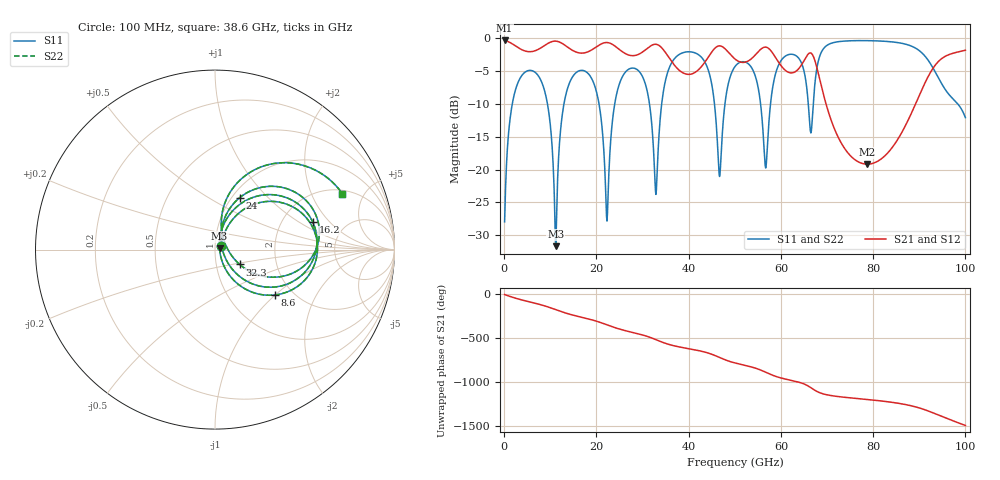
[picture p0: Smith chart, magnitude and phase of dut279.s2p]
! Touchstone file exported from HFSS 2026.1.0
!  File:  C:/ffzhzh/LocalFiles/Ansys_Project_Files/temp_train_TSV_RDL_279_1783677909_26216.aedt
!  Generated:  06:40:01 PM Jul 10, 2026
!  Design:  TSV_RDL
!  Project:  temp_train_TSV_RDL_279_1783677909_26216
! Variables:
!  h_bsmrdl = 2.91um
!  h_ox = 20um
!  h_rdl = 5um
!  h_sub = 92.72um
!  h_tmrdl = 2.04um
!  h_tsv = 92.72um
!  h_via = 3um
!  l_bsmrdl = 612.32um
!  l_sub = 4969.57um
!  l_tmrdl = 652.2um
!  m_sub = 200um
!  pitch = 56.39um
!  r_tsv = 13.09um
!  s_tmrdl = 10um
!  w_bsmrdl = 22.51um
!  w_sub = 500um
!  w_tmrdl = 18.76um
!  x_tsv_center1 = 661.58um
!  x_tsv_center2 = 1296.41um
!  x_tsv_center3 = 1967.37um
!  x_tsv_center4 = 2602.2um
!  x_tsv_center5 = 3273.16um
!  x_tsv_center6 = 3907.99um
# GHz S MA R 50.000000
! Terminal data exported
! Port[1] = TM_RDL1_1_T1
! Port[2] = TM_RDL5_1_T1
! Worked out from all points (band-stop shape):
!   1000 points, 100 MHz to 100 GHz, reference 50 ohm
!   highest |S21| = -0.30 dB at 100 MHz (marker M1); lowest = -19.2 dB at 78.7 GHz (marker M2)
!   |S21| within 3 dB of the highest: start of sweep to 36.1 GHz; 43.82 GHz to 50.37 GHz (6.547 GHz wide, 13.9 % of centre) (the widest 2 of 5)
!   lowest |S11| = -31.7 dB at 11.2 GHz (marker M3), VSWR 1.05, Z = 52.6 + j0.749 ohm
!   |S11| at or under -10 dB: 9.396 GHz to 12.96 GHz (3.564 GHz wide, 31.9 % of centre); 20.57 GHz to 23.97 GHz (3.392 GHz wide, 15.2 % of centre); 31.51 GHz to 34.15 GHz (2.638 GHz wide, 8.03 % of centre) (the widest 3 of 8)
!   |S22| runs from -31.7 to -0.3 dB; largest |S21 - S12| = 5.5e-12
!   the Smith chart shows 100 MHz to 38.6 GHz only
!   S11 on the Smith chart (normalised r, x): 100 MHz: 1.07, +0.04; 8.6 GHz: 1.62, -1.00; 16.2 GHz: 2.95, +1.33; 24 GHz: 1.09, +0.70; 32.3 GHz: 1.30, -0.22; 38.6 GHz: 2.20, +3.44
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0.1  0.04001 29.8  0.9658 -2.0  0.9658 -2.0  0.04001 29.8
! Gamma 0 0 0 0
! Port Impedance 50 0 50 0
2.8  0.4423 36.8  0.8616 -48.7  0.8616 -48.7  0.4423 36.8
8.6  0.4186 -37.1  0.8761 -127.8  0.8761 -127.8  0.4186 -37.1
11.2  0.02612 15.8  0.9544 -174.1  0.9544 -174.1  0.02606 15.7
16.2  0.5661 15.7  0.777 107.1  0.777 107.1  0.5661 15.7
16.8  0.5717 8.6  0.7732 99.5  0.7732 99.5  0.5717 8.5
22.3  0.04059 16.3  0.9309 13.4  0.9309 13.4  0.04012 16.4
24  0.3216 64.4  0.8764 -18.3  0.8764 -18.3  0.3216 64.5
32.3  0.16 -31.0  0.897 -142.2  0.897 -142.2  0.1602 -31.0
33.4  0.1433 75.9  0.8921 -165.6  0.8921 -165.6  0.1432 75.9
38.6  0.7752 23.7  0.5511 115.6  0.5511 115.6  0.7752 23.7
46.7  0.08875 1.5  0.8785 2.0  0.8785 2.0  0.08832 1.5
50.1  0.6143 25.7  0.6946 -60.7  0.6946 -60.7  0.6142 25.7
57.2  0.1801 56.9  0.8465 -177.4  0.8465 -177.4  0.1798 57.0
62.5  0.7573 9.1  0.5471 99.0  0.5471 99.0  0.7573 9.2
66.7  0.2151 35.5  0.7648 11.5  0.7648 11.5  0.2158 35.4
70.8  0.9162 13.5  0.2437 -70.2  0.2437 -70.2  0.9161 13.5
78.7  0.9625 -25.8  0.1102 -115.5  0.1102 -115.5  0.9625 -25.8
83.4  0.9468 -50.5  0.1371 -142.8  0.1371 -142.8  0.9467 -50.5
89.1  0.8477 -102.2  0.3115 161.8  0.3115 161.8  0.8474 -102.2
94  0.5127 167.5  0.6591 70.8  0.6591 70.8  0.5119 167.3
100  0.2493 45.5  0.8138 -50.8  0.8138 -50.8  0.2492 45.0
